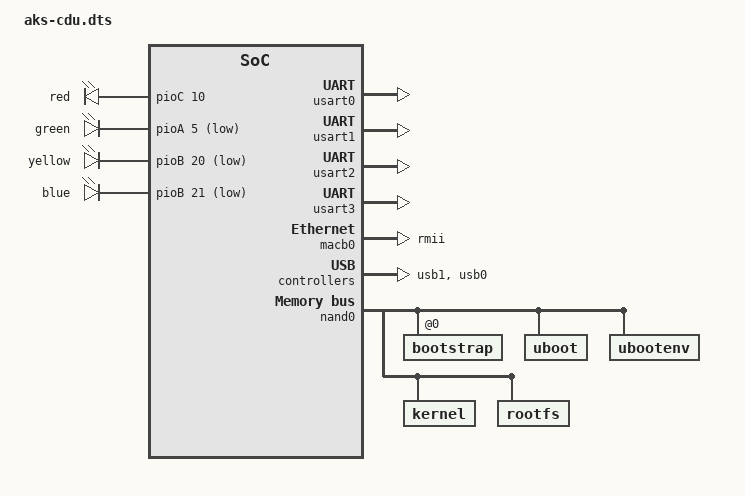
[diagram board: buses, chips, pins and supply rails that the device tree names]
/*
 * aks-cdu.dts - Device Tree file for AK signal CDU
 *
 * Copyright (C) 2012 AK signal Brno a.s.
 *               2012 Jiri Prchal <jiri.prchal@aksignal.cz>
 *
 * Licensed under GPLv2 or later.
 */

/dts-v1/;

#include "ge863-pro3.dtsi"

/ {
	chosen {
		bootargs = "console=ttyS0,115200 ubi.mtd=4 root=ubi0:rootfs rootfstype=ubifs";
	};

	clocks {
		slow_xtal {
			clock-frequency = <32768>;
		};
	};

	ahb {
		apb {
			usart0: serial@fffb0000 {
				status = "okay";
			};

			usart1: serial@fffb4000 {
				status = "okay";
				linux,rs485-enabled-at-boot-time;
				rs485-rts-delay = <0 0>;
				};

			usart2: serial@fffb8000 {
				status = "okay";
				linux,rs485-enabled-at-boot-time;
				rs485-rts-delay = <0 0>;
			};

			usart3: serial@fffd0000 {
				status = "okay";
				linux,rs485-enabled-at-boot-time;
				rs485-rts-delay = <0 0>;
			};

			macb0: ethernet@fffc4000 {
				phy-mode = "rmii";
				status = "okay";
			};

			usb1: gadget@fffa4000 {
				atmel,vbus-gpio = <&pioC 15 GPIO_ACTIVE_HIGH>;
				status = "okay";
			};
		};

		usb0: ohci@500000 {
			num-ports = <2>;
			status = "okay";
		};

		nand0: nand@40000000 {
			nand-bus-width = <8>;
			nand-ecc-mode = "soft";
			nand-on-flash-bbt;
			status = "okay";

			bootstrap@0 {
				label = "bootstrap";
				reg = <0x0 0x40000>;
			};

			uboot@40000 {
				label = "uboot";
				reg = <0x40000 0x80000>;
			};
			ubootenv@c0000 {
				label = "ubootenv";
				reg = <0xc0000 0x40000>;
			};
			kernel@100000 {
				label = "kernel";
				reg = <0x100000 0x400000>;
			};
			rootfs@500000 {
				label = "rootfs";
				reg = <0x500000 0x7b00000>;
			};
		};
	};

	leds {
		compatible = "gpio-leds";

		red {
			gpios = <&pioC 10 GPIO_ACTIVE_HIGH>;
			linux,default-trigger = "none";
		};

		green {
			gpios = <&pioA 5 GPIO_ACTIVE_LOW>;
			linux,default-trigger = "none";
			default-state = "on";
		};

		yellow {
			gpios = <&pioB 20 GPIO_ACTIVE_LOW>;
			linux,default-trigger = "none";
		};

		blue {
			gpios = <&pioB 21 GPIO_ACTIVE_LOW>;
			linux,default-trigger = "none";
		};
	};
};
